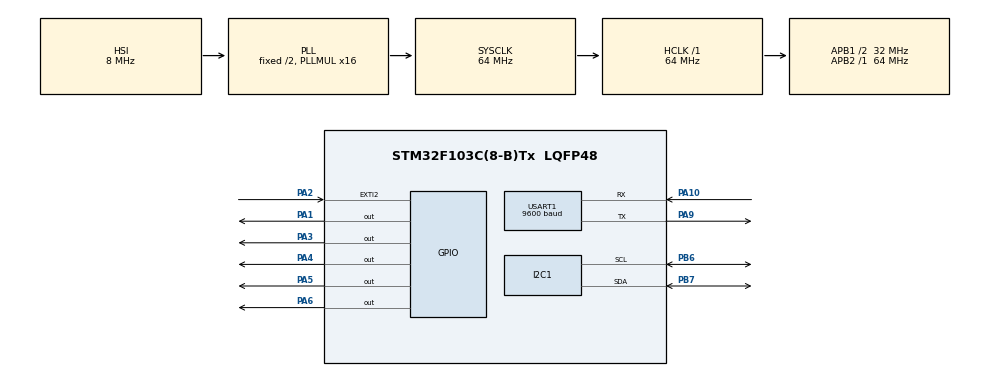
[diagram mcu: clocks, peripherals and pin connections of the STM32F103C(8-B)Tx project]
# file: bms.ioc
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Dma.Request0=USART1_TX
Dma.USART1_TX.0.Direction=DMA_MEMORY_TO_PERIPH
Dma.USART1_TX.0.Instance=DMA1_Channel4
Dma.USART1_TX.0.MemDataAlignment=DMA_MDATAALIGN_BYTE
Dma.USART1_TX.0.MemInc=DMA_MINC_ENABLE
Dma.USART1_TX.0.Mode=DMA_NORMAL
Dma.USART1_TX.0.PeriphDataAlignment=DMA_PDATAALIGN_BYTE
Dma.USART1_TX.0.PeriphInc=DMA_PINC_DISABLE
Dma.USART1_TX.0.Priority=DMA_PRIORITY_LOW
Mcu.Family=STM32F1
Mcu.Name=STM32F103C(8-B)Tx
Mcu.Package=LQFP48
NVIC.DMA1_Channel4_IRQn=true\:1\:0\:true\:false\:true\:false\:true\:true
NVIC.EXTI2_IRQn=true\:2\:0\:true\:false\:true\:true\:true\:true
NVIC.PriorityGroup=NVIC_PRIORITYGROUP_4
NVIC.TIM2_IRQn=true\:0\:0\:false\:false\:true\:true\:true\:true
NVIC.USART1_IRQn=true\:1\:0\:true\:false\:true\:true\:true\:true
PA1.Signal=GPIO_Output
PA10.Mode=Asynchronous
PA10.Signal=USART1_RX
PA13.Mode=Serial_Wire
PA13.Signal=SYS_JTMS-SWDIO
PA14.Mode=Serial_Wire
PA14.Signal=SYS_JTCK-SWCLK
PA2.GPIO_ModeDefaultEXTI=GPIO_MODE_IT_FALLING
PA2.GPIO_PuPd=GPIO_PULLUP
PA2.Signal=GPXTI2
PA3.Signal=GPIO_Output
PA4.Signal=GPIO_Output
PA5.Signal=GPIO_Output
PA6.Signal=GPIO_Output
PA9.Mode=Asynchronous
PA9.Signal=USART1_TX
PB6.Mode=I2C
PB6.Signal=I2C1_SCL
PB7.Mode=I2C
PB7.Signal=I2C1_SDA
ProjectManager.HeapSize=0x200
ProjectManager.StackSize=0x400
ProjectManager.TargetToolchain=MDK-ARM V5.32
RCC.AHBFreq_Value=64000000
RCC.APB1CLKDivider=RCC_HCLK_DIV2
RCC.APB1Freq_Value=32000000
RCC.APB1TimFreq_Value=64000000
RCC.APB2Freq_Value=64000000
RCC.APB2TimFreq_Value=64000000
RCC.HCLKFreq_Value=64000000
RCC.PLLMUL=RCC_PLL_MUL16
RCC.SYSCLKFreq_VALUE=64000000
RCC.SYSCLKSource=RCC_SYSCLKSOURCE_PLLCLK
RCC.USBFreq_Value=64000000
TIM2.AutoReloadPreload=TIM_AUTORELOAD_PRELOAD_ENABLE
TIM2.Period=999
TIM2.Prescaler=6399
USART1.BaudRate=9600
USART1.VirtualMode=VM_ASYNC
VP_TIM2_VS_ClockSourceINT.Mode=Internal
board=custom

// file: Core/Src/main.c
/* USER CODE BEGIN Header */
/**
  ******************************************************************************
  * @file           : main.c
  * @brief          : Main program body
  ******************************************************************************
  * @attention
  *
  * Copyright (c) 2026 STMicroelectronics.
  * All rights reserved.
  *
  * This software is licensed under terms that can be found in the LICENSE file
  * in the root directory of this software component.
  * If no LICENSE file comes with this software, it is provided AS-IS.
  *
  ******************************************************************************
  */
/* USER CODE END Header */
#include "main.h"
#include "dma.h"
#include "i2c.h"
#include "tim.h"
#include "usart.h"
#include "gpio.h"

/* USER CODE BEGIN PD */
#define BQ_ADDR (0x08 << 1) // 7位地址0x08，HAL库需要左移一位变成0x10
#define PROT_UV    3000   // 欠压保护 3.0V，18650 电芯的截止电压通常在 2.5V-2.75V
#define PROT_OV    4200   // 过充保护 4.2V
#define PROT_OT    60.0f  // 过温保护 60℃
#define PROT_UT    -5.0f  // 低温保护 -5℃ (禁止充电)
#define PROT_OC    15000  // 过流保护 15A，保险丝20A，电子保护（BMS）应该先于物理保护（保险丝）触发
/* USER CODE END PD */

/* USER CODE BEGIN PV */
uint8_t sys_stat = 0;
HAL_StatusTypeDef bq_status;
uint8_t sys_ctrl1, sys_ctrl2;
float bq_gain = 0.0f;
int8_t bq_offset = 0;
uint8_t tx_packet[3];     // 串口发送缓冲区
uint8_t cell_index_map[4] = {0, 1, 2, 4}; // 定义 4 串模式下的寄存器索引：VC1(0), VC2(1), VC3-VC4(2), VC5(4)
volatile uint8_t mos_state = 0; // 0: 关闭, 1: 开启
uint32_t last_button_time = 0; // 记录上次触发的时间，防止按键抖动
volatile uint8_t button_pressed_flag = 0;
int16_t debug_val = 0;
uint16_t cells[4];
int16_t curr;
float t;
uint8_t error_flag;
volatile uint8_t timer_100ms_flag = 0;
uint16_t task_counter = 0;
uint16_t uv_counter = 0; // 欠压计数器
uint16_t comm_fail_counter; // iic连接失败计数器
/* USER CODE END PV */

void SystemClock_Config(void);

/* USER CODE BEGIN 0 */
void BQ76920_Boot(void) {
    // 给 TS1 (PA1) 一个高电平脉冲唤醒芯片
    HAL_GPIO_WritePin(GPIOA, GPIO_PIN_1, GPIO_PIN_SET);
    HAL_Delay(3); // 持续 > 1ms
    HAL_GPIO_WritePin(GPIOA, GPIO_PIN_1, GPIO_PIN_RESET);
    HAL_Delay(10); // 等待 REGOUT 稳定
}

uint8_t CRC8(uint8_t *ptr, uint8_t len) {
    uint8_t crc = 0;
    while (len--) {
        crc ^= *ptr++;
        for (uint8_t i = 0; i < 8; i++) {
            if (crc & 0x80) crc = (crc << 1) ^ 0x07;
            else crc <<= 1;
        }
    }
    return crc;
}

HAL_StatusTypeDef BQ76920_ReadReg_CRC(uint8_t regAddr, uint8_t *pData) {
    uint8_t buf[3];
    HAL_StatusTypeDef status;

    // 1. 发送寄存器地址
    status = HAL_I2C_Master_Transmit(&hi2c1, BQ_ADDR, &regAddr, 1, 100);
    if (status != HAL_OK) return status;

    // 2. 读取数据字节和 CRC 字节
    uint8_t raw_rx[2]; // [Data, CRC]
    status = HAL_I2C_Master_Receive(&hi2c1, BQ_ADDR, raw_rx, 2, 100);
    if (status != HAL_OK) return status;

    // 3. 校验 CRC
    // 校验序列包括：[Addr_R] + [Data]
    buf[0] = BQ_ADDR | 0x01; // 读地址
    buf[1] = raw_rx[0];      // 数据

    if (CRC8(buf, 2) == raw_rx[1]) {
        *pData = raw_rx[0];
        return HAL_OK;
    } else {
        return HAL_ERROR; // CRC 校验失败
    }
}

// 读取 BQ 芯片内部的 ADC 校准参数
void BQ76920_Read_ADC_Params(void) {
    uint8_t g1, g2, off;
    if(BQ76920_ReadReg_CRC(0x50, &g1) == HAL_OK &&
       BQ76920_ReadReg_CRC(0x51, &g2) == HAL_OK) {

        /* 严格按照手册公式：
           Gain = 365 + ((g1 & 0x0C) << 1) + ((g2 & 0xE0) >> 5)
           单位是 uV/LSB
        */
        uint16_t gain_uV = 365 + ((uint16_t)(g1 & 0x0C) << 1) + ((uint16_t)(g2 & 0xE0) >> 5);

        bq_gain = (float)gain_uV / 1000.0f; // 转换为 mV/LSB
    }else {
        bq_gain = 0.380f; // 如果读取失败，给一个典型值，防止电压计算溢出
    }

    if(BQ76920_ReadReg_CRC(0x59, &off) == HAL_OK) {
        bq_offset = (int8_t)off; // 偏移量单位是 mV
    }else {
        bq_offset = -99; // 如果读取失败，特意设为-99，方便你在 OLED 上一眼看出是“读取错误”
    }

}

// 读取指定单体电压
uint16_t Get_Cell_Voltage_mV(uint8_t cell_idx) {
    uint8_t v_hi, v_lo;
    HAL_StatusTypeDef s1, s2;

    s1 = BQ76920_ReadReg_CRC(0x0C + (cell_idx * 2), &v_hi);
    s2 = BQ76920_ReadReg_CRC(0x0D + (cell_idx * 2), &v_lo);

    if (s1 != HAL_OK || s2 != HAL_OK) return 0; // 通信失败显示 0

    // 重点：必须用 0x3F 屏蔽掉 v_hi 的高两位！
    uint16_t adc_raw = ((uint16_t)(v_hi & 0x3F) << 8) | v_lo;

    // 计算
    return (uint16_t)((adc_raw * bq_gain) + (float)bq_offset);
	// return adc_raw; // 直接返回 14 位的原始数据
}

HAL_StatusTypeDef BQ76920_WriteReg_CRC(uint8_t regAddr, uint8_t data) {
    uint8_t buf[4];
    HAL_StatusTypeDef status;

    // 1. 准备 CRC 校验数据
    // 校验序列：[Addr_W] + [RegAddr] + [Data]
    buf[0] = BQ_ADDR;     // 0x10
    buf[1] = regAddr;     // 寄存器地址
    buf[2] = data;        // 要写入的数据

    // 2. 计算 CRC 并放入第四个字节
    buf[3] = CRC8(buf, 3);

    // 3. 通过 I2C 发送 [RegAddr] + [Data] + [CRC]
    // 注意：HAL_I2C_Master_Transmit 会自动发送器件地址，所以我们从 buf[1] 开始发 3 个字节
    status = HAL_I2C_Master_Transmit(&hi2c1, BQ_ADDR, &buf[1], 3, 100);

    return status;
}

void BQ76920_Set_MOS(uint8_t chg, uint8_t dsg) {
	// 强制清除所有状态标志（过流、欠压等故障标志）
    // 只有清除了这些，DSG 才能被手动开启
    BQ76920_WriteReg_CRC(0x00, 0xFF);

    uint8_t ctrl2;
    // 先读出当前状态
    BQ76920_ReadReg_CRC(0x05, &ctrl2);

    if(chg) ctrl2 |= 0x02; else ctrl2 &= ~0x02;
    if(dsg) ctrl2 |= 0x01; else ctrl2 &= ~0x01;

    // 写入新状态
    BQ76920_WriteReg_CRC(0x05, ctrl2);
}

// 电流测量，放电显示负值，充电显示正值
int16_t Get_Current_mA(void) {
    uint8_t i_hi, i_lo;
    if (BQ76920_ReadReg_CRC(0x32, &i_hi) != HAL_OK ||
        BQ76920_ReadReg_CRC(0x33, &i_lo) != HAL_OK) return 0;

    // 1. 读取原始值
    int16_t cc_raw = (int16_t)((i_hi << 8) | i_lo);
    // debug_val = cc_raw;
    // 2. 减去零漂 (Offset Null)
    // 根据你观察到的 350-353，我们取中间值 352
    int16_t corrected_raw = cc_raw - 352;

    // 3. 计算物理电流
    float current_f = (float)corrected_raw * 8.44f / 3.0f;
    return (int16_t)current_f;
}

// 温度测量
float Get_Temp_Celsius(void) {
    uint8_t t_hi, t_lo;
    // 1. 读取原始 ADC 值
    BQ76920_ReadReg_CRC(0x2C, &t_hi);
    BQ76920_ReadReg_CRC(0x2D, &t_lo);
    uint16_t adc = ((uint16_t)(t_hi & 0x3F) << 8) | t_lo;

    debug_val = adc; // 保留你的调试变量

    // 2. 基础错误检查
    if (adc >= 16383 || adc == 0) return -99.0f;

    // 3. 定制查找表 (基于 B=3435, REGOUT=3.14V, NTC接地)
    // 注意：ADC 随温度升高而减小，所以是降序排列
    typedef struct {
        int8_t temp;
        uint16_t adc;
    } TempTable;

    static const TempTable NTC_LUT[] = {
        {-5, 6234}, {0, 5902}, {5, 5518}, {10, 5093}, {15, 4643},
        {20, 4185}, {25, 3739}, {30, 3314}, {35, 2919}, {40, 2560},
        {45, 2238}, {50, 1954}, {55, 1705}, {60, 1488}
    };

    // 4. 边界处理
    if (adc >= NTC_LUT[0].adc) return -5.0f;
    if (adc <= NTC_LUT[13].adc) return 60.0f;

    // 5. 查表与线性插值
    for (int i = 0; i < 13; i++) {
        // 因为 ADC 是降序，判断当前 adc 是否落在 [i] 和 [i+1] 之间
        if (adc <= NTC_LUT[i].adc && adc > NTC_LUT[i+1].adc) {
            float t0 = (float)NTC_LUT[i].temp;
            float t1 = (float)NTC_LUT[i+1].temp;
            float a0 = (float)NTC_LUT[i].adc;
            float a1 = (float)NTC_LUT[i+1].adc;

            // 插值计算公式
            return t0 + (float)(adc - a0) * (t1 - t0) / (a1 - a0);
        }
    }

    return -99.0f;
}

// 容量 SOC 计算
uint16_t Calculate_SOC(uint16_t v_min_mv) {
    if (v_min_mv >= 4150) return 1000; // 满电
    if (v_min_mv <= 3000) return 0;    // 没电

    // 采用三段式拟合，比单一线性更准
    if (v_min_mv > 3800) {
        // 3.8V - 4.15V: 占 40% 容量 (60% -> 100%)
        return 600 + (v_min_mv - 3800) * 400 / (4150 - 3800);
    }
    else if (v_min_mv > 3600) {
        // 3.6V - 3.8V: 占 50% 容量 (10% -> 60%) —— 平台区
        return 100 + (v_min_mv - 3600) * 500 / (3800 - 3600);
    }
    else {
        // 3.0V - 3.6V: 占 10% 容量 (0% -> 10%) —— 陡降区
        return (v_min_mv - 3000) * 100 / (3600 - 3000);
    }
}

// 辅助发送函数
void send_packet(uint8_t id, uint16_t value) {
    static uint8_t temp_buf[3];

	// 如果 DMA 还在忙（虽然 3 字节在 9600 波特率下只需 3ms，几乎不会发生）
    // 这种判定是“非阻塞”的，如果忙就直接放弃这一包，保证系统不卡死
    if (huart1.gState != HAL_UART_STATE_READY) {
        return;
    }

    temp_buf[0] = id;
    temp_buf[1] = (uint8_t)(value >> 8);
    temp_buf[2] = (uint8_t)(value & 0xFF);

    HAL_UART_Transmit_DMA(&huart1, temp_buf, 3);
}

// 软件保护检测
void Check_Protections(uint16_t *v_cells, int16_t current, float temp) {

    // 1. 检查各项保护
    // 欠压
    uint16_t min_v = v_cells[0];
    for(int i=1; i<4; i++) if(v_cells[i] < min_v) min_v = v_cells[i];

    if (min_v < PROT_UV) {
        // 每 200ms 调用一次，累加 10 次即为 2 秒
        if (uv_counter < 10) uv_counter++;
        else error_flag |= 0x01;
    } else {
        uv_counter = 0; // 恢复正常立刻重置
    }

    // 过压
    for(int i=0; i<4; i++) if (v_cells[i] > PROT_OV) error_flag |= 0x02;

    // 温度
    if (temp > PROT_OT || temp < PROT_UT) error_flag |= 0x04;

    // 2. 动作执行：只要有错，立刻关断
    if (error_flag != 0) {
        BQ76920_Set_MOS(0, 0);
        mos_state = 0;
        HAL_GPIO_WritePin(GPIOA, GPIO_PIN_3, GPIO_PIN_RESET);	// mos管状态灯
		HAL_GPIO_WritePin(GPIOA, GPIO_PIN_4, GPIO_PIN_SET); 	// 错误报警灯
	}
}
/* USER CODE END 0 */

int main(void)
{

  /* MCU Configuration--------------------------------------------------------*/

  /* Reset of all peripherals, Initializes the Flash interface and the Systick. */
  HAL_Init();

  /* Configure the system clock */
  SystemClock_Config();

  /* Initialize all configured peripherals */
  MX_GPIO_Init();
  MX_DMA_Init();
  MX_I2C1_Init();
  MX_USART1_UART_Init();
  MX_TIM2_Init();
  /* USER CODE BEGIN 2 */

  BQ76920_Boot(); // 第一步：唤醒芯片
  HAL_Delay(500);

  // 尝试读取 SYS_STAT 寄存器 (0x00)
  bq_status = BQ76920_ReadReg_CRC(0x00, &sys_stat);

  if (bq_status == HAL_OK) {
      // 通信成功：点亮
      HAL_GPIO_WritePin(GPIOA, GPIO_PIN_6, GPIO_PIN_SET);
  } else {
      // 通信失败：LED 闪烁报错
      while(1) {
          HAL_GPIO_TogglePin(GPIOA, GPIO_PIN_6);
          HAL_Delay(500);
      }
  }

    // --- 硬件保护配置 ---
	// 1. PROTECT1 (0x06): 配置短路保护 (SCD)
	// SCD Threshold 111mV (37A), Delay 200us
	BQ76920_WriteReg_CRC(0x06, 0x14);
  HAL_Delay(10);

	// 2. PROTECT2 (0x07): 配置过流保护 (OCD)
	// OCD Threshold 61mV (20.33A), Delay 640ms
	BQ76920_WriteReg_CRC(0x07, 0x5C);
  HAL_Delay(10);

	// 3. PROTECT3 (0x08): 配置欠压/过压延时
	// UV Delay 1s, OV Delay 1s (保持默认)
	BQ76920_WriteReg_CRC(0x08, 0x00);
  HAL_Delay(10);

    // 4. OV_TRIP设置硬件过压防线 (约4.25V)
	BQ76920_WriteReg_CRC(0x09, 0xBF);

	// 5. UV_TRIP设置硬件欠压防线 (约3.0V)
	BQ76920_WriteReg_CRC(0x0A, 0xF0);

  // --- 数据采集配置 ---
  // 在读取之前，先尝试清除所有状态寄存器，防止之前的错误挂起
  BQ76920_WriteReg_CRC(0x00, 0xFF);
  HAL_Delay(10);
  // 强制关闭均衡，防止 100 欧姆电阻产生压降
	BQ76920_WriteReg_CRC(0x01, 0x00);
  HAL_Delay(10);

  // --- 第一步：开启电压和温度 ADC ---
	BQ76920_ReadReg_CRC(0x04, &sys_ctrl1);
	// Bit 4 (ADC_EN): 开启电压采样
	// Bit 3 (TEMP_SEL): 1 为外部 NTC, 0 为内部感测。通常选 1
	sys_ctrl1 |= (0x10 | 0x08);
	BQ76920_WriteReg_CRC(0x04, sys_ctrl1);

	// --- 第二步：开启电流 ADC (库仑计) ---
	BQ76920_ReadReg_CRC(0x05, &sys_ctrl2);
	// Bit 6 (CC_EN): 开启电流连续采样
	// Bit 0 & 1: 确保放电/充电管脚根据你的需求配置（注意：这通常由保护逻辑控制，不要盲目置 1）
	sys_ctrl2 |= 0x40;
	BQ76920_WriteReg_CRC(0x05, sys_ctrl2);

	// --- 第三步：必要的等待 ---
	// BQ769x0 的 ADC 转换周期通常为 250ms (电压) 和 250ms (电流)
	// 延时 500ms 以上即可，2000ms 非常稳妥
	HAL_Delay(1000);

	// --- 第四步：读取增益和偏移校准参数 ---
	// 这一步非常关键！没有这些参数，你读到的原始 ADC 值无法转换成物理电压/电流
	// 给读取校准参数增加重试
	uint8_t retry = 5;
	while(retry--) {
		BQ76920_Read_ADC_Params();
		if(bq_gain > 0.30f) break; // 读取成功则跳出
		HAL_Delay(100);
	}

	// 强行修正！不管读到什么，都给它一个合理的值
	if(bq_offset < -50 || bq_offset > 50) {
		bq_offset = 0; // 正常的 Offset 只有几个 mV，给 0 比给 -127 准得多
	}

	// 顺便检查 gain 是否合理，如果不合理也手动给一个经验值
	if(bq_gain < 0.35f || bq_gain > 0.40f) {
		bq_gain = 0.381f; // 这是一个非常典型的增益值
	}
	bq_gain = bq_gain * 1.0102f;

	error_flag = 0; // 手动复位清除错误

	HAL_TIM_Base_Start_IT(&htim2); // 以中断模式启动 TIM2
  /* USER CODE END 2 */

  /* Infinite loop */
  /* USER CODE BEGIN WHILE */
  while (1)
  {
	  // 按键处理 (实时响应，不受 Delay 影响) ---
    if (button_pressed_flag) {
        button_pressed_flag = 0;
        if (error_flag == 0) { // 只有无故障时才允许手动操作
            mos_state = !mos_state;
            BQ76920_Set_MOS(mos_state, mos_state);
            HAL_GPIO_WritePin(GPIOA, GPIO_PIN_3, mos_state ? GPIO_PIN_SET : GPIO_PIN_RESET);
        }
    }

    // 基于定时器的任务分发 ---
    if (timer_100ms_flag) {
        timer_100ms_flag = 0;
        task_counter++;

        // 每 200ms 运行一次：保护检查 (高频任务)
        if (task_counter % 2 == 0) {
			HAL_StatusTypeDef comm_stat = HAL_OK;
			// 依次读取，若有任何一步通信失败，comm_stat 会记录
			comm_stat |= BQ76920_ReadReg_CRC(0x00, &sys_stat);
			for(int i=0; i<4; i++) cells[i] = Get_Cell_Voltage_mV(cell_index_map[i]);
			curr = Get_Current_mA();
			t = Get_Temp_Celsius();

			if(comm_stat != HAL_OK) {
				error_flag |= 0x10; // 通信故障标志
			} else {
				error_flag &= ~0x10;
			}

			Check_Protections(cells, curr, t);
		}

        // 每 1000ms 运行一次：Telemetry 数据发送 (低频任务)
        switch (task_counter) {
			case 1: send_packet(1, cells[0]); break;
			case 2: send_packet(2, cells[1]); break;
			case 3: send_packet(3, cells[2]); break;
			case 4: send_packet(4, cells[3]); break;
			case 5: send_packet(5, (uint16_t)curr); break;
			case 6: send_packet(6, (uint16_t)(t * 10.0f)); break;
			case 7: {
				uint16_t min_v = 5000;
				for(int i=0; i<4; i++) if(cells[i] < min_v && cells[i] > 1000) min_v = cells[i];
				send_packet(7, Calculate_SOC(min_v));
				break;
			}
			case 8: send_packet(8, (uint16_t)error_flag); break;
			case 10: task_counter = 0; break; // 1秒周期结束，复位
			default: break;
		}
    }
    /* USER CODE END WHILE */

  }
}

void SystemClock_Config(void)
{
  RCC_OscInitTypeDef RCC_OscInitStruct = {0};
  RCC_ClkInitTypeDef RCC_ClkInitStruct = {0};

  /** Initializes the RCC Oscillators according to the specified parameters
  * in the RCC_OscInitTypeDef structure.
  */
  RCC_OscInitStruct.OscillatorType = RCC_OSCILLATORTYPE_HSI;
  RCC_OscInitStruct.HSIState = RCC_HSI_ON;
  RCC_OscInitStruct.HSICalibrationValue = RCC_HSICALIBRATION_DEFAULT;
  RCC_OscInitStruct.PLL.PLLState = RCC_PLL_ON;
  RCC_OscInitStruct.PLL.PLLSource = RCC_PLLSOURCE_HSI_DIV2;
  RCC_OscInitStruct.PLL.PLLMUL = RCC_PLL_MUL16;
  if (HAL_RCC_OscConfig(&RCC_OscInitStruct) != HAL_OK)
  {
    Error_Handler();
  }

  /** Initializes the CPU, AHB and APB buses clocks
  */
  RCC_ClkInitStruct.ClockType = RCC_CLOCKTYPE_HCLK|RCC_CLOCKTYPE_SYSCLK
                              |RCC_CLOCKTYPE_PCLK1|RCC_CLOCKTYPE_PCLK2;
  RCC_ClkInitStruct.SYSCLKSource = RCC_SYSCLKSOURCE_PLLCLK;
  RCC_ClkInitStruct.AHBCLKDivider = RCC_SYSCLK_DIV1;
  RCC_ClkInitStruct.APB1CLKDivider = RCC_HCLK_DIV2;
  RCC_ClkInitStruct.APB2CLKDivider = RCC_HCLK_DIV1;

  if (HAL_RCC_ClockConfig(&RCC_ClkInitStruct, FLASH_LATENCY_2) != HAL_OK)
  {
    Error_Handler();
  }
}

/* USER CODE BEGIN 4 */
void HAL_TIM_PeriodElapsedCallback(TIM_HandleTypeDef *htim) {
    if (htim->Instance == TIM2) {
        timer_100ms_flag = 1; // 触发心跳标志
    }
}

void HAL_UART_TxCpltCallback(UART_HandleTypeDef *huart)
{
    if(huart->Instance == USART1)
    {
        // 如果能跑到这里，说明 DMA 正常完成了任务，gState 会自动变回 READY
        // 你可以在这里放一个测试代码，比如翻转另一个 LED
		HAL_GPIO_TogglePin(GPIOA, GPIO_PIN_5);
    }
}

void HAL_GPIO_EXTI_Callback(uint16_t GPIO_Pin)
{
    if (GPIO_Pin == GPIO_PIN_2) {
        uint32_t current_time = HAL_GetTick();
        if (current_time - last_button_time > 250) { // 简单消抖
            last_button_time = current_time;
            // 只设置一个触发标志
            button_pressed_flag = 1;
        }
    }
}
/* USER CODE END 4 */

void Error_Handler(void)
{
  __disable_irq();
  while (1)
  {
  }
}
